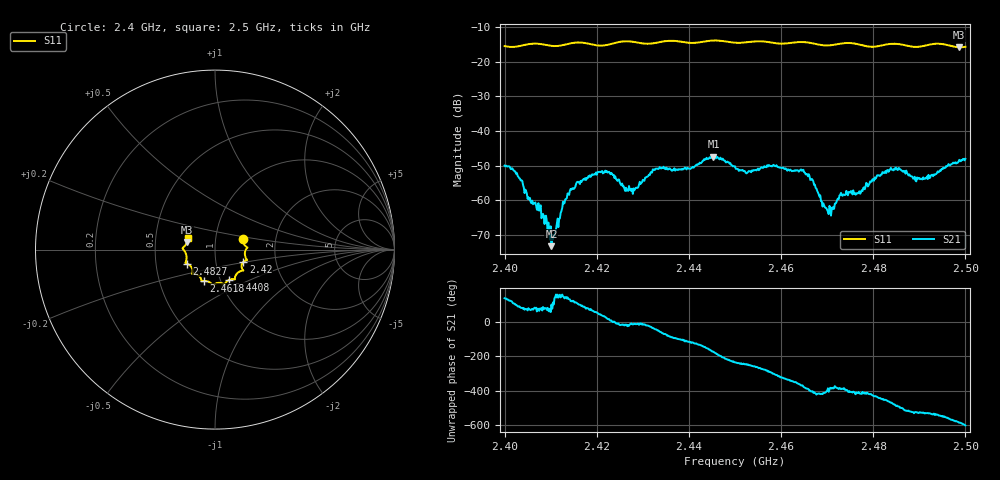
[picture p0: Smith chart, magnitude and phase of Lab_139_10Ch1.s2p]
# Hz S RI R 50
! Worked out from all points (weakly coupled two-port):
!   601 points, 2.4 GHz to 2.5 GHz, reference 50 ohm
!   highest |S21| = -47.41 dB at 2.4453 GHz (marker M1); lowest = -73.2 dB at 2.4102 GHz (marker M2)
!   lowest |S11| = -15.9 dB at 2.4987 GHz (marker M3), VSWR 1.38, Z = 36.5 + j3.23 ohm
!   |S11| at or under -10 dB: start of sweep to end of sweep
!   S12 and S22 are empty: the file has one direction only
!   S11 on the Smith chart (normalised r, x): 2.4 GHz: 1.36, +0.17; 2.42 GHz: 1.36, -0.19; 2.4408 GHz: 1.10, -0.38; 2.4618 GHz: 0.84, -0.30; 2.4827 GHz: 0.72, -0.12; 2.5 GHz: 0.73, +0.09
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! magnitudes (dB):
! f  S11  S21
! 2.4 GHz  -15.5  -50.0
! 2.4033 GHz  -15.5  -53.8
! 2.4102 GHz  -15.5  -73.2
! 2.4138 GHz  -14.9  -58.1
! 2.4167 GHz  -14.5  -54.7
! 2.42 GHz  -15.3  -52.6
! 2.4227 GHz  -15.1  -51.8
! 2.4277 GHz  -14.2  -56.7
! 2.4333 GHz  -14.5  -51.0
! 2.4408 GHz  -14.6  -50.3
! 2.4453 GHz  -13.9  -47.4
! 2.45 GHz  -14.6  -50.2
! 2.4618 GHz  -14.6  -51.4
! 2.4667 GHz  -14.7  -53.8
! 2.4705 GHz  -15.3  -61.6
! 2.4732 GHz  -14.8  -58.5
! 2.4768 GHz  -15.0  -57.9
! 2.4827 GHz  -15.1  -51.6
! 2.4833 GHz  -14.9  -51.8
! 2.491 GHz  -15.5  -53.8
! 2.4987 GHz  -15.9  -48.3
! 2.5 GHz  -15.7  -48.0
